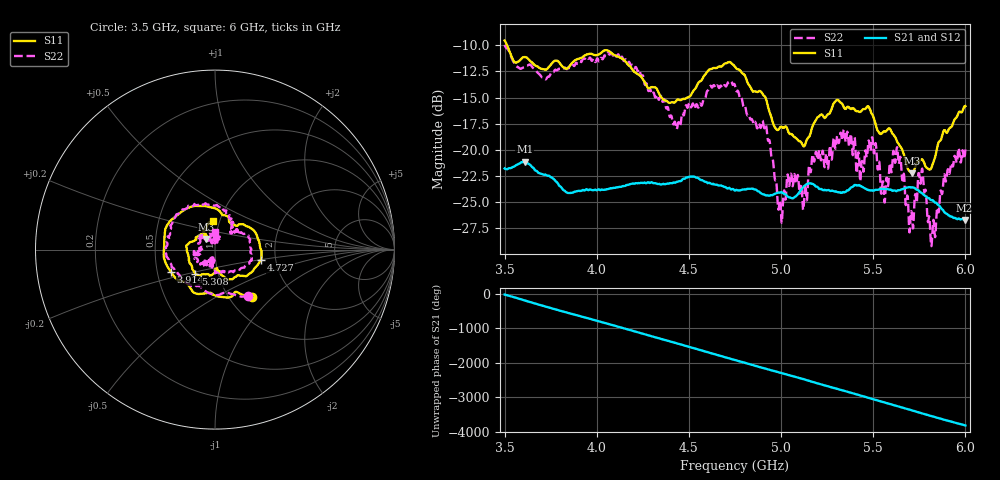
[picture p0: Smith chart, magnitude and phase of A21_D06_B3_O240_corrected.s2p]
! Created with skrf 1.9.0 (http://scikit-rf.org).
# Hz S RI R 50.0
!freq ReS11 ImS11 ReS21 ImS21 ReS12 ImS12 ReS22 ImS22
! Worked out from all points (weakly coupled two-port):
!   1601 points, 3.5 GHz to 6 GHz, reference 50 ohm
!   highest |S21| = -21.13 dB at 3.609 GHz (marker M1); lowest = -26.7 dB at 5.995 GHz (marker M2)
!   lowest |S11| = -22.2 dB at 5.711 GHz (marker M3), VSWR 1.17, Z = 44.9 + j5.33 ohm
!   |S11| at or under -10 dB: 3.513 GHz to end of sweep
!   |S22| runs from -29.2 to -10.0 dB; largest |S21 - S12| = 0.001
!   S11 on the Smith chart (normalised r, x): 3.5 GHz: 1.27, -0.75; 3.914 GHz: 0.59, -0.16; 4.727 GHz: 1.67, -0.20; 5.308 GHz: 0.78, -0.22; 6 GHz: 0.93, +0.31
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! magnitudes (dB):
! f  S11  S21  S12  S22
! 3.5 GHz  -9.5  -21.8  -21.7  -10.0
! 3.609 GHz  -11.1  -21.1  -21.1  -12.0
! 3.914 GHz  -11.2  -23.9  -23.9  -11.6
! 3.917 GHz  -11.2  -23.9  -23.9  -11.6
! 4.334 GHz  -14.5  -23.3  -23.2  -15.1
! 4.442 GHz  -15.2  -23.0  -23.0  -17.4
! 4.727 GHz  -11.6  -23.8  -23.6  -13.5
! 4.75 GHz  -12.0  -23.9  -23.8  -13.9
! 4.911 GHz  -14.9  -24.3  -24.2  -17.9
! 4.995 GHz  -17.8  -24.1  -24.0  -24.8
! 5.045 GHz  -18.4  -24.5  -24.5  -23.4
! 5.13 GHz  -19.5  -23.4  -23.4  -23.5
! 5.167 GHz  -17.9  -23.2  -23.2  -20.9
! 5.308 GHz  -15.2  -24.0  -24.0  -18.8
! 5.584 GHz  -17.9  -23.8  -23.7  -22.6
! 5.638 GHz  -19.4  -23.9  -23.8  -21.2
! 5.711 GHz  -22.2  -23.6  -23.5  -26.4
! 5.758 GHz  -21.0  -24.1  -24.0  -23.1
! 5.825 GHz  -21.2  -24.8  -24.8  -26.8
! 5.894 GHz  -18.3  -26.1  -26.0  -23.0
! 5.995 GHz  -15.8  -26.7  -26.6  -20.8
! 6 GHz  -15.8  -26.7  -26.6  -20.0
